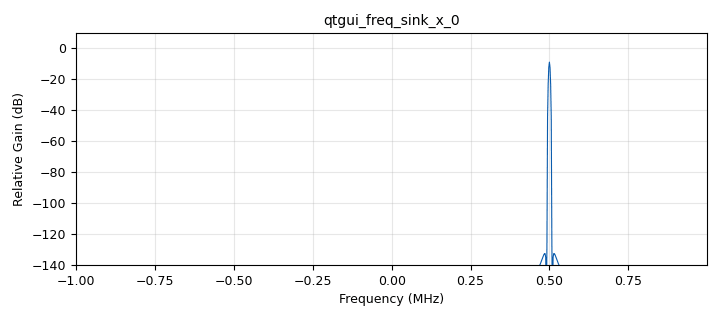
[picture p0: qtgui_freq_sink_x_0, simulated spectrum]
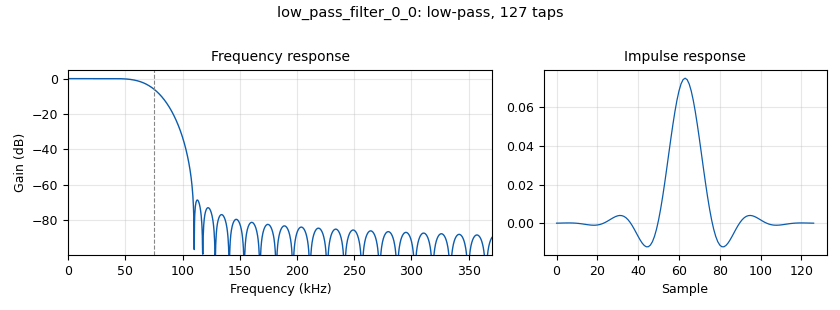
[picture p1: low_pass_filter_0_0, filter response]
options:
  parameters:
    generate_options: qt_gui
    id: fmradio
    output_language: python
    title: FM radio
  states: {}

blocks:
- name: band_width
  id: variable
  parameters:
    value: 2e6
  states: {}
- name: channel_width
  id: variable
  parameters:
    value: 200e3
  states: {}
- name: decimation
  id: variable
  parameters:
    value: int(samp_rate / quadrature_rate)
  states: {}
- name: freq
  id: variable
  parameters:
    value: hardware_freq+tune
  states: {}
- name: gain
  id: variable_qtgui_range
  parameters:
    start: '0'
    step: '1'
    stop: '40'
    value: '32'
  states: {}
- name: hardware_freq
  id: variable_qtgui_range
  parameters:
    start: 76e6
    step: 1e6
    stop: 76e6
    value: 76e6
  states: {}
- name: quadrature_rate
  id: variable
  parameters:
    value: 250e3
  states: {}
- name: samp_rate
  id: variable
  parameters:
    value: 2e6
  states: {}
- name: squl
  id: variable_qtgui_range
  parameters:
    rangeType: int
    start: '-150'
    step: '1'
    stop: '-1'
    value: '-50'
  states: {}
- name: tune
  id: variable_qtgui_range
  parameters:
    start: '0'
    step: 100e3
    stop: 5e6
    value: 500e3
  states: {}
- name: vol
  id: variable_qtgui_range
  parameters:
    start: '1'
    step: '1'
    stop: '1500'
    value: '400'
  states: {}
- name: analog_nbfm_tx_0
  id: analog_nbfm_tx
  parameters:
    audio_rate: int(48e3)
    fh: '-1.0'
    max_dev: 5e3
    quad_rate: int(480e3)
    tau: '75e-6'
  states: {state: disabled}
- name: analog_sig_source_x_0
  id: analog_sig_source_x
  parameters:
    amp: '1'
    freq: tune
    offset: '0'
    phase: '0'
    samp_rate: samp_rate
    type: complex
    waveform: analog.GR_COS_WAVE
  states: {}
- name: analog_simple_squelch_cc_1
  id: analog_simple_squelch_cc
  parameters:
    alpha: '1'
    threshold: squl
  states: {}
- name: analog_wfm_tx_0
  id: analog_wfm_tx
  parameters:
    audio_rate: int(48e3)
    fh: '-1.0'
    max_dev: 75e3
    quad_rate: int(480e3)
    tau: '75e-6'
  states: {}
- name: audio_source_0
  id: audio_source
  parameters:
    device_name: plughw:0,0
    samp_rate: '48000'
  states: {}
- name: blocks_freqshift_cc_0_0
  id: blocks_freqshift_cc
  parameters:
    freq: tune
    sample_rate: samp_rate
  states: {state: disabled}
- name: blocks_multiply_const_vxx_1
  id: blocks_multiply_const_vxx
  parameters:
    const: '1'
    type: complex
  states: {}
- name: blocks_multiply_const_vxx_2
  id: blocks_multiply_const_vxx
  parameters:
    const: vol
    type: float
  states: {}
- name: blocks_multiply_xx_0
  id: blocks_multiply_xx
  parameters:
    type: complex
  states: {}
- name: low_pass_filter_0_0
  id: low_pass_filter
  parameters:
    beta: '6.76'
    cutoff_freq: 75e3
    decim: '1'
    gain: '1'
    samp_rate: samp_rate
    type: fir_filter_ccf
    width: 50e3
    win: window.WIN_KAISER
  states: {}
- name: qtgui_freq_sink_x_0
  id: qtgui_freq_sink_x
  parameters:
    bw: samp_rate
    fc: '0'
    fftsize: '1024'
    type: complex
  states: {}
- name: qtgui_freq_sink_x_0_0
  id: qtgui_freq_sink_x
  parameters:
    bw: samp_rate
    fc: '0'
    fftsize: '1024'
    type: complex
  states: {}
- name: qtgui_freq_sink_x_0_0_0
  id: qtgui_freq_sink_x
  parameters:
    bw: band_width
    fc: hardware_freq
    fftsize: '2048'
    grid: 'True'
    name: after low pass filter
    type: complex
    wintype: window.WIN_HAMMING
  states: {}
- name: qtgui_time_sink_x_1
  id: qtgui_time_sink_x
  parameters:
    name: after low pass filter
    size: '1024'
    srate: samp_rate
    type: complex
  states: {}
- name: qtgui_waterfall_sink_x_0
  id: qtgui_waterfall_sink_x
  parameters:
    bw: samp_rate
    fc: hardware_freq
    fftsize: '1024'
    grid: 'True'
    name: waterfall
    type: complex
    update_time: '0.0010'
    wintype: window.WIN_HAMMING
  states: {}
- name: rational_resampler_xxx_0_0_0_0
  id: rational_resampler_xxx
  parameters:
    decim: '12'
    interp: '50'
    type: ccc
  states: {}
- name: soapy_hackrf_sink_0_0
  id: soapy_hackrf_sink
  parameters:
    center_freq: hardware_freq
    samp_rate: samp_rate
    type: fc32
    vga: gain
  states: {}

connections:
- [analog_nbfm_tx_0, '0', rational_resampler_xxx_0_0_0_0, '0']
- [analog_sig_source_x_0, '0', blocks_multiply_xx_0, '1']
- [analog_sig_source_x_0, '0', qtgui_freq_sink_x_0, '0']
- [analog_simple_squelch_cc_1, '0', blocks_multiply_const_vxx_1, '0']
- [analog_wfm_tx_0, '0', rational_resampler_xxx_0_0_0_0, '0']
- [audio_source_0, '0', blocks_multiply_const_vxx_2, '0']
- [blocks_freqshift_cc_0_0, '0', analog_simple_squelch_cc_1, '0']
- [blocks_multiply_const_vxx_1, '0', qtgui_freq_sink_x_0_0_0, '0']
- [blocks_multiply_const_vxx_1, '0', qtgui_time_sink_x_1, '0']
- [blocks_multiply_const_vxx_1, '0', qtgui_waterfall_sink_x_0, '0']
- [blocks_multiply_const_vxx_1, '0', soapy_hackrf_sink_0_0, '0']
- [blocks_multiply_const_vxx_2, '0', analog_nbfm_tx_0, '0']
- [blocks_multiply_const_vxx_2, '0', analog_wfm_tx_0, '0']
- [blocks_multiply_xx_0, '0', analog_simple_squelch_cc_1, '0']
- [blocks_multiply_xx_0, '0', qtgui_freq_sink_x_0_0, '0']
- [low_pass_filter_0_0, '0', blocks_freqshift_cc_0_0, '0']
- [low_pass_filter_0_0, '0', blocks_multiply_xx_0, '0']
- [rational_resampler_xxx_0_0_0_0, '0', low_pass_filter_0_0, '0']

metadata:
  file_format: 1
  grc_version: 3.10.11.0
